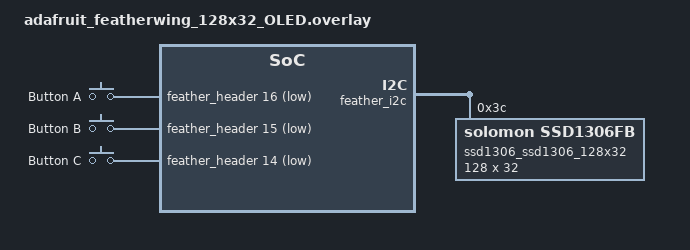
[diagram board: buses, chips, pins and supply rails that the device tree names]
/*
 * Copyright (c) 2025 Stefan Schmidt <kontakt@stefanschmidt-embedded.de>
 *
 * SPDX-License-Identifier: Apache-2.0
 */

/ {
	chosen {
		zephyr,display = &ssd1306_ssd1306_128x32;
	};

	buttons {
        compatible = "gpio-keys";

		buttonA: button_A {
			gpios = <&feather_header 16 (GPIO_PULL_UP | GPIO_ACTIVE_LOW)>; /* D9 */
			label = "Button A";
			zephyr,code = <INPUT_KEY_1>;
		};
		buttonB: button_B {
			gpios = <&feather_header 15 GPIO_ACTIVE_LOW>; /* D6 */
			label = "Button B";
			zephyr,code = <INPUT_KEY_2>;
		};
		buttonC: button_C {
			gpios = <&feather_header 14 (GPIO_PULL_UP | GPIO_ACTIVE_LOW)>;	/* D5 */
			label = "Button C";
			zephyr,code = <INPUT_KEY_3>;
		};
	};
};

&feather_i2c {
	ssd1306_ssd1306_128x32: ssd1306@3c {
		compatible = "solomon,ssd1306fb";
		reg = <0x3c>;
		width = <128>;
		height = <32>;
		segment-offset = <0>;
		page-offset = <0>;
		display-offset = <0>;
		multiplex-ratio = <31>;
		segment-remap;
		com-invdir;
		com-sequential;
		prechargep = <0x22>;
	};
};
